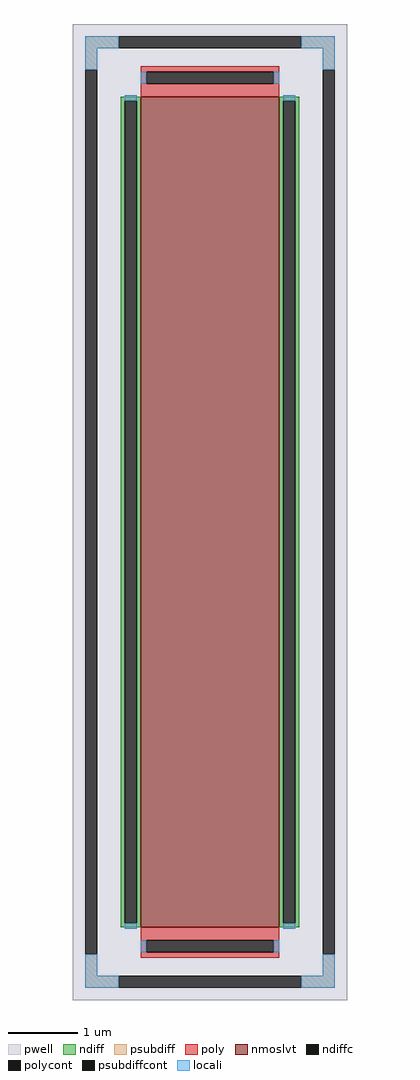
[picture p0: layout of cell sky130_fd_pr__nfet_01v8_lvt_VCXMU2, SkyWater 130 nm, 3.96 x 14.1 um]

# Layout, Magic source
magic
tech sky130A
<< pwell >>
rect -198 -705 198 705
<< nmoslvt >>
rect -100 -600 100 600
<< ndiff >>
rect -129 594 -100 600
rect -129 -594 -123 594
rect -106 -594 -100 594
rect -129 -600 -100 -594
rect 100 594 129 600
rect 100 -594 106 594
rect 123 -594 129 594
rect 100 -600 129 -594
<< ndiffc >>
rect -123 -594 -106 594
rect 106 -594 123 594
<< psubdiff >>
rect -180 670 -132 687
rect 132 670 180 687
rect -180 639 -163 670
rect 163 639 180 670
rect -180 -670 -163 -639
rect 163 -670 180 -639
rect -180 -687 -132 -670
rect 132 -687 180 -670
<< psubdiffcont >>
rect -132 670 132 687
rect -180 -639 -163 639
rect 163 -639 180 639
rect -132 -687 132 -670
<< poly >>
rect -100 636 100 644
rect -100 619 -92 636
rect 92 619 100 636
rect -100 600 100 619
rect -100 -619 100 -600
rect -100 -636 -92 -619
rect 92 -636 100 -619
rect -100 -644 100 -636
<< polycont >>
rect -92 619 92 636
rect -92 -636 92 -619
<< locali >>
rect -180 670 -132 687
rect 132 670 180 687
rect -180 639 -163 670
rect 163 639 180 670
rect -100 619 -92 636
rect 92 619 100 636
rect -123 594 -106 602
rect -123 -602 -106 -594
rect 106 594 123 602
rect 106 -602 123 -594
rect -100 -636 -92 -619
rect 92 -636 100 -619
rect -180 -670 -163 -639
rect 163 -670 180 -639
rect -180 -687 -132 -670
rect 132 -687 180 -670
<< properties >>
string gencell sky130_fd_pr__nfet_01v8_lvt
string FIXED_BBOX -171 -678 171 678
string parameters w 12 l 2 m 1 nf 1 diffcov 100 polycov 100 guard 1 glc 1 grc 1 gtc 1 gbc 1 tbcov 100 rlcov 100 topc 1 botc 1 poverlap 0 doverlap 1 lmin 0.15 wmin 0.42 compatible {sky130_fd_pr__nfet_01v8 sky130_fd_pr__nfet_01v8_lvt  sky130_fd_bs_flash__special_sonosfet_star  sky130_fd_pr__nfet_g5v0d10v5 sky130_fd_pr__nfet_05v0_nvt} full_metal 1
string library sky130
<< end >>
